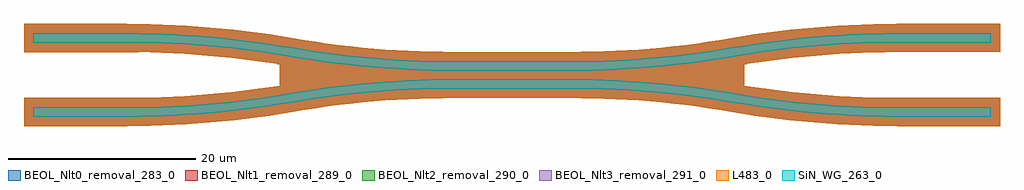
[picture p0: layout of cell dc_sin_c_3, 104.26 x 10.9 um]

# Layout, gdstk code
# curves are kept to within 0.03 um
import gdstk
lib = gdstk.Library(unit=1e-6, precision=1e-09)
def R(c, l, rs):  # rectangles x0, y0, x1, y1
    for r in rs: c.add(gdstk.rectangle(r[:2], r[2:], *l))
def P(c, l, *ps):  # polygons
    for p in ps: c.add(gdstk.Polygon(p, *l))
SiN_WG_263_0 = (263, 0)
BEOL_Nlt0_removal_283_0 = (283, 0)
BEOL_Nlt1_removal_289_0 = (289, 0)
BEOL_Nlt2_removal_290_0 = (290, 0)
BEOL_Nlt3_removal_291_0 = (291, 0)
L483_0 = (483, 0)

c_v2 = lib.new_cell('V2')
R(c_v2, SiN_WG_263_0, [(0,0,10,1), (92.26,0,102.26,1), (45,3,57.26,4), (45,4.9,57.26,5.9), (0,7.9,10,8.9), (92.26,7.9,102.26,8.9)])
P(c_v2, SiN_WG_263_0, [(92.26,0),(88.474,0.068),(85.953,0.192),(83.436,0.376),(80.924,0.623),(78.418,0.93),(74.675,1.507),(74.845,2.493),(78.551,1.922),(81.033,1.617),(83.521,1.373),(87.262,1.121),(89.76,1.03),(92.26,1)],
  [(74.675,1.507),(70.969,2.078),(68.487,2.383),(65.999,2.627),(62.258,2.879),(59.76,2.97),(57.26,3),(57.26,4),(61.046,3.932),(64.826,3.724),(68.596,3.377),(72.352,2.893),(74.845,2.493)],
  [(27.585,1.507),(27.415,2.493),(29.908,2.893),(33.664,3.377),(37.434,3.724),(41.214,3.932),(45,4),(45,3),(42.5,2.97),(40.002,2.879),(36.261,2.627),(33.773,2.383),(31.291,2.078)],
  [(10,0),(10,1),(12.5,1.03),(14.998,1.121),(18.739,1.373),(21.227,1.617),(23.709,1.922),(27.415,2.493),(27.585,1.507),(23.842,0.93),(21.336,0.623),(18.824,0.376),(16.307,0.192),(13.786,0.068)],
  [(74.845,6.407),(74.675,7.393),(77.168,7.793),(80.924,8.277),(84.694,8.624),(88.474,8.832),(92.26,8.9),(92.26,7.9),(89.76,7.87),(87.262,7.779),(83.521,7.527),(81.033,7.283),(78.551,6.978)],
  [(57.26,4.9),(57.26,5.9),(59.76,5.93),(62.258,6.021),(65.999,6.273),(68.487,6.517),(70.969,6.822),(74.675,7.393),(74.845,6.407),(71.102,5.83),(68.596,5.523),(66.084,5.276),(63.567,5.092),(61.046,4.968)],
  [(45,4.9),(41.214,4.968),(38.693,5.092),(36.176,5.276),(33.664,5.523),(31.158,5.83),(27.415,6.407),(27.585,7.393),(31.291,6.822),(33.773,6.517),(36.261,6.273),(40.002,6.021),(42.5,5.93),(45,5.9)],
  [(27.415,6.407),(23.709,6.978),(21.227,7.283),(18.739,7.527),(14.998,7.779),(12.5,7.87),(10,7.9),(10,8.9),(13.786,8.832),(17.566,8.624),(21.336,8.277),(25.092,7.793),(27.585,7.393)])

v2_nit0 = lib.new_cell('V2_nit0')
P(v2_nit0, BEOL_Nlt0_removal_283_0, [(-1,-1),(-1,2),(11.244,2.007),(14.943,2.119),(18.652,2.369),(21.123,2.611),(23.581,2.914),(26.312,3.322),(26.312,5.578),(23.581,5.986),(21.123,6.289),(18.652,6.531),(16.179,6.713),(13.719,6.832),(9.994,6.9),(-1,6.9),(-1,9.9),(11.274,9.893),(13.822,9.831),(16.368,9.706),(18.91,9.52),(22.712,9.124),(25.238,8.782),(31.419,7.814),(35.12,7.382),(40.057,7.019),(45.006,6.9),(58.504,6.907),(62.203,7.019),(65.912,7.269),(68.383,7.511),(72.055,7.985),(78.284,8.961),(82.081,9.403),(84.621,9.621),(87.164,9.777),(90.986,9.893),(103.26,9.9),(103.26,6.9),(91.016,6.893),(87.317,6.781),(83.608,6.531),(81.137,6.289),(78.679,5.986),(75.948,5.578),(75.948,3.322),(78.679,2.914),(81.137,2.611),(83.608,2.369),(86.081,2.187),(88.541,2.068),(92.266,2),(103.26,2),(103.26,-1),(90.986,-0.993),(88.438,-0.931),(85.892,-0.806),(83.35,-0.62),(79.548,-0.224),(77.022,0.118),(70.841,1.086),(67.14,1.518),(62.203,1.881),(57.254,2),(43.756,1.993),(40.057,1.881),(36.348,1.631),(33.877,1.389),(30.205,0.915),(23.976,-0.061),(20.179,-0.503),(17.639,-0.721),(15.096,-0.877),(11.274,-0.993)])

v2_nit1 = lib.new_cell('V2_nit1')
P(v2_nit1, BEOL_Nlt1_removal_289_0, [(-1,-1),(-1,2),(11.244,2.007),(14.943,2.119),(18.652,2.369),(21.123,2.611),(23.581,2.914),(26.312,3.322),(26.312,5.578),(23.581,5.986),(21.123,6.289),(18.652,6.531),(16.179,6.713),(13.719,6.832),(9.994,6.9),(-1,6.9),(-1,9.9),(11.274,9.893),(13.822,9.831),(16.368,9.706),(18.91,9.52),(22.712,9.124),(25.238,8.782),(31.419,7.814),(35.12,7.382),(40.057,7.019),(45.006,6.9),(58.504,6.907),(62.203,7.019),(65.912,7.269),(68.383,7.511),(72.055,7.985),(78.284,8.961),(82.081,9.403),(84.621,9.621),(87.164,9.777),(90.986,9.893),(103.26,9.9),(103.26,6.9),(91.016,6.893),(87.317,6.781),(83.608,6.531),(81.137,6.289),(78.679,5.986),(75.948,5.578),(75.948,3.322),(78.679,2.914),(81.137,2.611),(83.608,2.369),(86.081,2.187),(88.541,2.068),(92.266,2),(103.26,2),(103.26,-1),(90.986,-0.993),(88.438,-0.931),(85.892,-0.806),(83.35,-0.62),(79.548,-0.224),(77.022,0.118),(70.841,1.086),(67.14,1.518),(62.203,1.881),(57.254,2),(43.756,1.993),(40.057,1.881),(36.348,1.631),(33.877,1.389),(30.205,0.915),(23.976,-0.061),(20.179,-0.503),(17.639,-0.721),(15.096,-0.877),(11.274,-0.993)])

v2_nit2 = lib.new_cell('V2_nit2')
P(v2_nit2, BEOL_Nlt2_removal_290_0, [(-1,-1),(-1,2),(11.244,2.007),(14.943,2.119),(18.652,2.369),(21.123,2.611),(23.581,2.914),(26.312,3.322),(26.312,5.578),(23.581,5.986),(21.123,6.289),(18.652,6.531),(16.179,6.713),(13.719,6.832),(9.994,6.9),(-1,6.9),(-1,9.9),(11.274,9.893),(13.822,9.831),(16.368,9.706),(18.91,9.52),(22.712,9.124),(25.238,8.782),(31.419,7.814),(35.12,7.382),(40.057,7.019),(45.006,6.9),(58.504,6.907),(62.203,7.019),(65.912,7.269),(68.383,7.511),(72.055,7.985),(78.284,8.961),(82.081,9.403),(84.621,9.621),(87.164,9.777),(90.986,9.893),(103.26,9.9),(103.26,6.9),(91.016,6.893),(87.317,6.781),(83.608,6.531),(81.137,6.289),(78.679,5.986),(75.948,5.578),(75.948,3.322),(78.679,2.914),(81.137,2.611),(83.608,2.369),(86.081,2.187),(88.541,2.068),(92.266,2),(103.26,2),(103.26,-1),(90.986,-0.993),(88.438,-0.931),(85.892,-0.806),(83.35,-0.62),(79.548,-0.224),(77.022,0.118),(70.841,1.086),(67.14,1.518),(62.203,1.881),(57.254,2),(43.756,1.993),(40.057,1.881),(36.348,1.631),(33.877,1.389),(30.205,0.915),(23.976,-0.061),(20.179,-0.503),(17.639,-0.721),(15.096,-0.877),(11.274,-0.993)])

v2_nit3 = lib.new_cell('V2_nit3')
P(v2_nit3, BEOL_Nlt3_removal_291_0, [(-1,-1),(-1,2),(11.244,2.007),(14.943,2.119),(18.652,2.369),(21.123,2.611),(23.581,2.914),(26.312,3.322),(26.312,5.578),(23.581,5.986),(21.123,6.289),(18.652,6.531),(16.179,6.713),(13.719,6.832),(9.994,6.9),(-1,6.9),(-1,9.9),(11.274,9.893),(13.822,9.831),(16.368,9.706),(18.91,9.52),(22.712,9.124),(25.238,8.782),(31.419,7.814),(35.12,7.382),(40.057,7.019),(45.006,6.9),(58.504,6.907),(62.203,7.019),(65.912,7.269),(68.383,7.511),(72.055,7.985),(78.284,8.961),(82.081,9.403),(84.621,9.621),(87.164,9.777),(90.986,9.893),(103.26,9.9),(103.26,6.9),(91.016,6.893),(87.317,6.781),(83.608,6.531),(81.137,6.289),(78.679,5.986),(75.948,5.578),(75.948,3.322),(78.679,2.914),(81.137,2.611),(83.608,2.369),(86.081,2.187),(88.541,2.068),(92.266,2),(103.26,2),(103.26,-1),(90.986,-0.993),(88.438,-0.931),(85.892,-0.806),(83.35,-0.62),(79.548,-0.224),(77.022,0.118),(70.841,1.086),(67.14,1.518),(62.203,1.881),(57.254,2),(43.756,1.993),(40.057,1.881),(36.348,1.631),(33.877,1.389),(30.205,0.915),(23.976,-0.061),(20.179,-0.503),(17.639,-0.721),(15.096,-0.877),(11.274,-0.993)])

v2_nitpasv = lib.new_cell('V2_nitpasv')
P(v2_nitpasv, L483_0, [(-1,-1),(-1,2),(11.244,2.007),(14.943,2.119),(18.652,2.369),(21.123,2.611),(23.581,2.914),(26.312,3.322),(26.312,5.578),(23.581,5.986),(21.123,6.289),(18.652,6.531),(16.179,6.713),(13.719,6.832),(9.994,6.9),(-1,6.9),(-1,9.9),(11.274,9.893),(13.822,9.831),(16.368,9.706),(18.91,9.52),(22.712,9.124),(25.238,8.782),(31.419,7.814),(35.12,7.382),(40.057,7.019),(45.006,6.9),(58.504,6.907),(62.203,7.019),(65.912,7.269),(68.383,7.511),(72.055,7.985),(78.284,8.961),(82.081,9.403),(84.621,9.621),(87.164,9.777),(90.986,9.893),(103.26,9.9),(103.26,6.9),(91.016,6.893),(87.317,6.781),(83.608,6.531),(81.137,6.289),(78.679,5.986),(75.948,5.578),(75.948,3.322),(78.679,2.914),(81.137,2.611),(83.608,2.369),(86.081,2.187),(88.541,2.068),(92.266,2),(103.26,2),(103.26,-1),(90.986,-0.993),(88.438,-0.931),(85.892,-0.806),(83.35,-0.62),(79.548,-0.224),(77.022,0.118),(70.841,1.086),(67.14,1.518),(62.203,1.881),(57.254,2),(43.756,1.993),(40.057,1.881),(36.348,1.631),(33.877,1.389),(30.205,0.915),(23.976,-0.061),(20.179,-0.503),(17.639,-0.721),(15.096,-0.877),(11.274,-0.993)])

dc_sin_c_3 = lib.new_cell('dc_sin_c_3')
dc_sin_c_3.add(gdstk.Reference(c_v2, (0,0)))
dc_sin_c_3.add(gdstk.Reference(v2_nit0, (0,0)))
dc_sin_c_3.add(gdstk.Reference(v2_nit1, (0,0)))
dc_sin_c_3.add(gdstk.Reference(v2_nit2, (0,0)))
dc_sin_c_3.add(gdstk.Reference(v2_nit3, (0,0)))
dc_sin_c_3.add(gdstk.Reference(v2_nitpasv, (0,0)))

lib.write_gds('dc_sin_c_3.gds')
